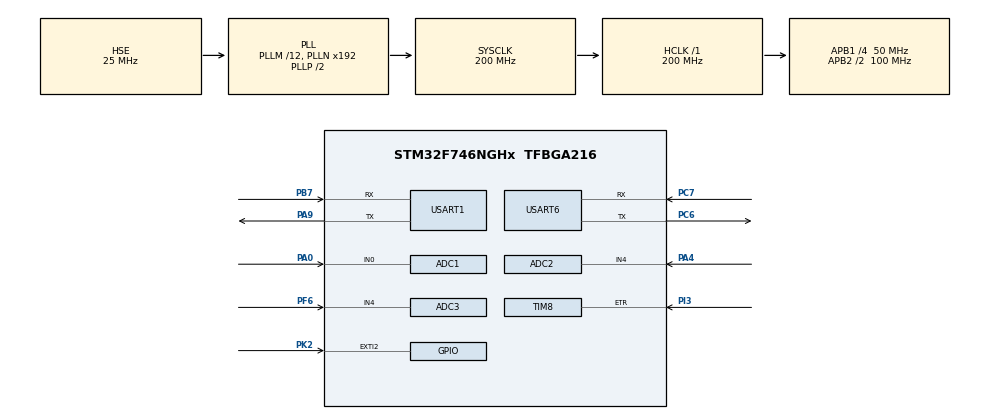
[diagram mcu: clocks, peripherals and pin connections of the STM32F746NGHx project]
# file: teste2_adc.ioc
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ADC1.Channel-0\#ChannelRegularConversion=ADC_CHANNEL_0
ADC1.ClockPrescaler=ADC_CLOCK_SYNC_PCLK_DIV6
ADC1.DMAAccessMode=ADC_DMAACCESSMODE_1
ADC1.DMAContinuousRequests=ENABLE
ADC1.ExternalTrigConv=ADC_EXTERNALTRIGCONV_T8_TRGO2
ADC1.Mode=ADC_TRIPLEMODE_REGSIMULT
ADC1.NbrOfConversionFlag=1
ADC1.Rank-0\#ChannelRegularConversion=1
ADC1.SamplingTime-0\#ChannelRegularConversion=ADC_SAMPLETIME_480CYCLES
ADC1.master=1
ADC2.Channel-0\#ChannelRegularConversion=ADC_CHANNEL_4
ADC2.ClockPrescaler=ADC_CLOCK_SYNC_PCLK_DIV6
ADC2.DMAAccessMode=ADC_DMAACCESSMODE_1
ADC2.Mode=ADC_TRIPLEMODE_REGSIMULT
ADC2.NbrOfConversionFlag=1
ADC2.Rank-0\#ChannelRegularConversion=1
ADC2.SamplingTime-0\#ChannelRegularConversion=ADC_SAMPLETIME_480CYCLES
ADC3.Channel-0\#ChannelRegularConversion=ADC_CHANNEL_4
ADC3.ClockPrescaler=ADC_CLOCK_SYNC_PCLK_DIV6
ADC3.DMAAccessMode=ADC_DMAACCESSMODE_1
ADC3.Mode=ADC_TRIPLEMODE_REGSIMULT
ADC3.NbrOfConversionFlag=1
ADC3.Rank-0\#ChannelRegularConversion=1
ADC3.SamplingTime-0\#ChannelRegularConversion=ADC_SAMPLETIME_480CYCLES
Dma.ADC1.0.Direction=DMA_PERIPH_TO_MEMORY
Dma.ADC1.0.FIFOMode=DMA_FIFOMODE_DISABLE
Dma.ADC1.0.Instance=DMA2_Stream4
Dma.ADC1.0.MemDataAlignment=DMA_MDATAALIGN_HALFWORD
Dma.ADC1.0.MemInc=DMA_MINC_ENABLE
Dma.ADC1.0.Mode=DMA_CIRCULAR
Dma.ADC1.0.PeriphDataAlignment=DMA_PDATAALIGN_HALFWORD
Dma.ADC1.0.PeriphInc=DMA_PINC_DISABLE
Dma.ADC1.0.Priority=DMA_PRIORITY_VERY_HIGH
Dma.Request0=ADC1
FREERTOS.Tasks01=PMU_Task,0,1024,PMUTask,Default,NULL,Dynamic,NULL,NULL
FREERTOS.configMINIMAL_STACK_SIZE=256
FREERTOS.configTOTAL_HEAP_SIZE=65536
Mcu.Family=STM32F7
Mcu.Name=STM32F746NGHx
Mcu.Package=TFBGA216
NVIC.DMA2_Stream4_IRQn=true\:5\:0\:false\:false\:true\:true\:false
NVIC.PriorityGroup=NVIC_PRIORITYGROUP_4
NVIC.USART1_IRQn=true\:5\:0\:false\:false\:true\:true\:true
NVIC.USART6_IRQn=true\:5\:0\:false\:false\:true\:true\:true
PA0/WKUP.Signal=ADCx_IN0
PA4.Signal=ADCx_IN4
PA9.Mode=Asynchronous
PA9.Signal=USART1_TX
PB7.Mode=Asynchronous
PB7.Signal=USART1_RX
PC6.Mode=Asynchronous
PC6.Signal=USART6_TX
PC7.Mode=Asynchronous
PC7.Signal=USART6_RX
PF6.Mode=IN4
PF6.Signal=ADC3_IN4
PH0/OSC_IN.Mode=HSE-External-Oscillator
PH0/OSC_IN.Signal=RCC_OSC_IN
PH1/OSC_OUT.Mode=HSE-External-Oscillator
PH1/OSC_OUT.Signal=RCC_OSC_OUT
PI3.Signal=S_TIM8_ETR
PK2.Signal=GPXTI2
ProjectManager.HeapSize=0x200
ProjectManager.StackSize=0x400
ProjectManager.TargetToolchain=SW4STM32
RCC.AHBFreq_Value=200000000
RCC.APB1CLKDivider=RCC_HCLK_DIV4
RCC.APB1Freq_Value=50000000
RCC.APB1TimFreq_Value=100000000
RCC.APB2CLKDivider=RCC_HCLK_DIV2
RCC.APB2Freq_Value=100000000
RCC.APB2TimFreq_Value=200000000
RCC.CortexFreq_Value=200000000
RCC.HCLKFreq_Value=200000000
RCC.HSE_VALUE=25000000
RCC.HSI_VALUE=16000000
RCC.LSE_VALUE=32768
RCC.PLLM=12
RCC.PLLSourceVirtual=RCC_PLLSOURCE_HSE
RCC.SYSCLKFreq_VALUE=200000000
RCC.SYSCLKSource=RCC_SYSCLKSOURCE_PLLCLK
RCC.USBFreq_Value=200000000
RCC.VCOOutputFreq_Value=400000000
SH.ADCx_IN0.0=ADC1_IN0,IN0
SH.ADCx_IN4.0=ADC2_IN4,IN4
SH.S_TIM8_ETR.0=TIM8_ETR,TriggerSource_ETR
TIM2.Period=1626
TIM2.Prescaler=1025
TIM2.TIM_MasterOutputTrigger=TIM_TRGO_UPDATE
TIM8.Period=6509
TIM8.TIM_MasterOutputTrigger2=TIM_TRGO2_UPDATE
USART1.VirtualMode-Asynchronous=VM_ASYNC
USART1.WordLength=WORDLENGTH_8B
USART6.VirtualMode-Asynchronous=VM_ASYNC
USART6.WordLength=WORDLENGTH_8B
VP_FREERTOS_VS_ENABLE.Mode=Enabled
VP_TIM2_VS_ClockSourceINT.Mode=Internal
VP_TIM8_VS_ClockSourceINT.Mode=Internal
VP_TIM8_VS_ControllerModeTrigger.Mode=Trigger Mode
board=teste2_adc

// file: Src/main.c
/**
  ******************************************************************************
  * @file           : main.c
  * @brief          : Main program body
  ******************************************************************************
  * This notice applies to any and all portions of this file
  * that are not between comment pairs USER CODE BEGIN and
  * USER CODE END. Other portions of this file, whether
  * inserted by the user or by software development tools
  * are owned by their respective copyright owners.
  *
  * Copyright (c) 2018 STMicroelectronics International N.V.
  * All rights reserved.
  *
  * Redistribution and use in source and binary forms, with or without
  * modification, are permitted, provided that the following conditions are met:
  *
  * 1. Redistribution of source code must retain the above copyright notice,
  *    this list of conditions and the following disclaimer.
  * 2. Redistributions in binary form must reproduce the above copyright notice,
  *    this list of conditions and the following disclaimer in the documentation
  *    and/or other materials provided with the distribution.
  * 3. Neither the name of STMicroelectronics nor the names of other
  *    contributors to this software may be used to endorse or promote products
  *    derived from this software without specific written permission.
  * 4. This software, including modifications and/or derivative works of this
  *    software, must execute solely and exclusively on microcontroller or
  *    microprocessor devices manufactured by or for STMicroelectronics.
  * 5. Redistribution and use of this software other than as permitted under
  *    this license is void and will automatically terminate your rights under
  *    this license.
  *
  * THIS SOFTWARE IS PROVIDED BY STMICROELECTRONICS AND CONTRIBUTORS "AS IS"
  * AND ANY EXPRESS, IMPLIED OR STATUTORY WARRANTIES, INCLUDING, BUT NOT
  * LIMITED TO, THE IMPLIED WARRANTIES OF MERCHANTABILITY, FITNESS FOR A
  * PARTICULAR PURPOSE AND NON-INFRINGEMENT OF THIRD PARTY INTELLECTUAL PROPERTY
  * RIGHTS ARE DISCLAIMED TO THE FULLEST EXTENT PERMITTED BY LAW. IN NO EVENT
  * SHALL STMICROELECTRONICS OR CONTRIBUTORS BE LIABLE FOR ANY DIRECT, INDIRECT,
  * INCIDENTAL, SPECIAL, EXEMPLARY, OR CONSEQUENTIAL DAMAGES (INCLUDING, BUT NOT
  * LIMITED TO, PROCUREMENT OF SUBSTITUTE GOODS OR SERVICES; LOSS OF USE, DATA,
  * OR PROFITS; OR BUSINESS INTERRUPTION) HOWEVER CAUSED AND ON ANY THEORY OF
  * LIABILITY, WHETHER IN CONTRACT, STRICT LIABILITY, OR TORT (INCLUDING
  * NEGLIGENCE OR OTHERWISE) ARISING IN ANY WAY OUT OF THE USE OF THIS SOFTWARE,
  * EVEN IF ADVISED OF THE POSSIBILITY OF SUCH DAMAGE.
  *
  ******************************************************************************
  */
#include "main.h"
#include "stm32f7xx_hal.h"
#include "cmsis_os.h"

/* USER CODE BEGIN Includes */
#include <math.h>
#include "stm32746g_discovery.h"

#include "xprintf.h"
#include <stdarg.h>

#define MCLOCK_FREQ 100000000
#define numero_pontos 256

volatile unsigned short adcBuffer[768];

///////////////////////////////////////////////////////////////////////
//////////////////////////////////////////////////////////////////////
////////////////////////////////////////////////////////////////////////
//				ESTIMAÇÃO DOS DADOS DE INTERESSE
//
// Fasores trifasicos, frequencia e rocof
unsigned n=0, t_inicial=2;
unsigned int send_serial=0;
unsigned int i=1;
int j=0;
volatile unsigned int n_amostras=256;

unsigned int k=0;
unsigned int flag=0;
unsigned int r,s,t, rr, ss, tt;

//Tabela da DFT
float teta, seno[numero_pontos], cosseno[numero_pontos];
//aplicacao do fator de calibracao
float FC;
float FasesAC[numero_pontos*3];
float FasesAC_mod_R[numero_pontos], FasesAC_mod_S[numero_pontos], FasesAC_mod_T[numero_pontos];
float FasesAC_ReIm_R[numero_pontos*2], FasesAC_ReIm_S[numero_pontos*2], FasesAC_ReIm_T[numero_pontos*2];
//Aplicacao da DFT
float modulor,modulos,modulot,faser,fases,faset,somaMr,somaMs,somaMt,somaFr,somaFs,somaFt;
//Fasor em coordenadas retangulares
float Mr,Ms,Mt,Fr,Fs,Ft;
//Fasor em coordenadas polares
float Mag_R,Mag_S,Mag_T,Fase_R,Fase_S,Fase_T;
//Frequencia e rocof
float f0=60; // Freq nominal
int fps=30; //Fasor por segundo - metade da freq. nominal neste trabalho
float desvio_faseR, desvio_faseS, desvio_faseT, freq_R, freq_S, freq_T, Freq, ROCOF;
float Fase_R_ant, Fase_S_ant, Fase_T_ant, Freq_ant;
float desvio_ang_esp;
float tolerancia = 10;
//media movel do desvio de angulo
float vetor_desvioR[10], vetor_desvioS[10], vetor_desvioT[10];
float soma_r, soma_s, soma_t;
unsigned int d=0;
//Correçao da taxa de amostragem
float  dif, vetor_freq[10], media_freq, soma_freq, media_freq_2;
float vetor_rocof[10], media_rocof, soma_rocof;
unsigned int  f=0, g=0, contador = 0;
//Transmissao via serial
float buffer[9];

//Definicoes para correcao das medidas
float mag, faseR_x_mag, faseS_x_mag, faseT_x_mag, faseR_x_freq, faseS_x_freq, faseT_x_freq;
float MagR_x_mag, MagS_x_mag, MagT_x_mag, MagR_x_freq;

//Fasores finais
float Mag_R_final,Mag_S_final,Mag_T_final,Fase_R_final,Fase_S_final,Fase_T_final;
float Freq_final;

// Referencia uma estrutura para o semáforo que sincroniza a transmissão pela porta serial
osSemaphoreId  pmuSem_id;

//Outros
float x, y, z, w, a=0;
unsigned int Freq_int;

//////////////////////////////////////////
//           PARA SER CONFIGURADO  !!!!!!!!
// Faction of Second
unsigned long FracSec = 0x00000000;  // 40 000 us
// Time base
unsigned long Time_base = 0x000F4240;   // 1 000 000 us

///////////////////////////////////////////

union {
	float pf;
	unsigned char byte[4];
}convert_float_to_char;
/* USER CODE END Includes */

ADC_HandleTypeDef hadc1;
ADC_HandleTypeDef hadc2;
ADC_HandleTypeDef hadc3;
DMA_HandleTypeDef hdma_adc1;

TIM_HandleTypeDef htim2;
TIM_HandleTypeDef htim8;

UART_HandleTypeDef huart1;
UART_HandleTypeDef huart6;

osThreadId PMU_TaskHandle;

/* USER CODE BEGIN PV */
/* Private variables ---------------------------------------------------------*/
int trigcount = 0;
/* USER CODE END PV */

void SystemClock_Config(void);
static void MX_GPIO_Init(void);
static void MX_DMA_Init(void);
static void MX_ADC1_Init(void);
static void MX_TIM8_Init(void);
static void MX_ADC2_Init(void);
static void MX_ADC3_Init(void);
static void MX_USART1_UART_Init(void);
static void MX_USART6_UART_Init(void);
static void MX_TIM2_Init(void);
void PMUTask(void const * argument);

/* USER CODE BEGIN PFP */
/* Private function prototypes -----------------------------------------------*/
void printSerial ( const char* aFormat, ... );
void putChar( unsigned char aCharacter );
/* USER CODE END PFP */

/* USER CODE BEGIN 0 */
//Callback chamado quando o ADC finaliza a conversão
void HAL_ADC_ConvCpltCallback(ADC_HandleTypeDef* hadc){
	char msg[280];

	//Interrompe o TIM8 e zera sua contagem atribuindo 0 ao Auto Reload Register
	htim8.Instance->CR1 &= ~(TIM_CR1_CEN);
	htim8.Instance->CNT = 0;

	// Se o TIM2 estiver desligado...
	if (htim2.Instance->CR1 == 0) {
		// Configura o TIM8 para ser trigado pelo TIM2 (ITR1)
		TIM_SlaveConfigTypeDef sSlaveConfig;
		sSlaveConfig.SlaveMode = TIM_SLAVEMODE_TRIGGER;
		sSlaveConfig.InputTrigger = TIM_TS_ITR1;
		HAL_TIM_SlaveConfigSynchronization(&htim8, &sSlaveConfig);

		// E inicia o TIM2
		htim2.Instance->CR1 |= (TIM_CR1_CEN);

		trigcount++;
	}
	// Do contrario, o TIM2 já está iniciado
	else {
		//Então conta-se um pulso
		trigcount++;

		if (trigcount > 29) {
			// Caso o número de pulsos-1 tenha sido atingido, o TIM2 é interrompido
			htim2.Instance->CR1 &= ~(TIM_CR1_CEN);
			htim2.Instance->CNT = 0;

			// O TIM8 é reestabelecido para ser disparado externamente
			TIM_SlaveConfigTypeDef sSlaveConfig;
			sSlaveConfig.SlaveMode = TIM_SLAVEMODE_TRIGGER;
			sSlaveConfig.InputTrigger = TIM_TS_ETRF;
			sSlaveConfig.TriggerPolarity = TIM_TRIGGERPOLARITY_NONINVERTED;
			sSlaveConfig.TriggerPrescaler = TIM_TRIGGERPRESCALER_DIV1;
			sSlaveConfig.TriggerFilter = 0;
			HAL_TIM_SlaveConfigSynchronization(&htim8, &sSlaveConfig);

			// E a contagem de pulsos zerada
			trigcount = 0;
		}
	}

	sprintf(msg, "Entrou no callback do ADC. Saindo com TrigCount = %d.\n", trigcount);
	printSerial(msg);

	BSP_LED_Toggle(LED1);
	osSemaphoreRelease(pmuSem_id);
}

void printSerial ( const char* aFormat, ... )
{
  char buff[ 256 ];
  va_list list;
  va_start( list, aFormat );
  vsprintf( buff, aFormat, list );
  va_end( list );
  xprintf( buff );
}

void putChar( unsigned char aCharacter )
{
  HAL_UART_Transmit( &huart1, (uint8_t*)&aCharacter, 1, 10 );
}
/* USER CODE END 0 */

int main(void)
{

  /* MCU Configuration----------------------------------------------------------*/

  /* Reset of all peripherals, Initializes the Flash interface and the Systick. */
  HAL_Init();

  /* Configure the system clock */
  SystemClock_Config();

  /* Initialize all configured peripherals */
  MX_GPIO_Init();
  MX_DMA_Init();
  MX_ADC1_Init();
  MX_TIM8_Init();
  MX_ADC2_Init();
  MX_ADC3_Init();
  MX_USART1_UART_Init();
  MX_USART6_UART_Init();
  MX_TIM2_Init();
  /* USER CODE BEGIN 2 */
  xdev_out( putChar );

  /*	TIM1:
   * 	100MHz(2050*1627) = 30.0003Hz
   * 	50MHz(1025*1627) = 30.0003Hz
   */
  /* USER CODE END 2 */

  /* Create the thread(s) */
  /* definition and creation of PMU_Task */
  osThreadDef(PMU_Task, PMUTask, osPriorityNormal, 0, 1024);
  PMU_TaskHandle = osThreadCreate(osThread(PMU_Task), NULL);

  /* Start scheduler */
  osKernelStart();

  /* We should never get here as control is now taken by the scheduler */

  /* Infinite loop */
  while (1)
  {

  }

}

void SystemClock_Config(void)
{

  RCC_OscInitTypeDef RCC_OscInitStruct;
  RCC_ClkInitTypeDef RCC_ClkInitStruct;
  RCC_PeriphCLKInitTypeDef PeriphClkInitStruct;

    /**Configure the main internal regulator output voltage
    */
  __HAL_RCC_PWR_CLK_ENABLE();

  __HAL_PWR_VOLTAGESCALING_CONFIG(PWR_REGULATOR_VOLTAGE_SCALE1);

    /**Initializes the CPU, AHB and APB busses clocks
    */
  RCC_OscInitStruct.OscillatorType = RCC_OSCILLATORTYPE_HSE;
  RCC_OscInitStruct.HSEState = RCC_HSE_ON;
  RCC_OscInitStruct.PLL.PLLState = RCC_PLL_ON;
  RCC_OscInitStruct.PLL.PLLSource = RCC_PLLSOURCE_HSE;
  RCC_OscInitStruct.PLL.PLLM = 12;
  RCC_OscInitStruct.PLL.PLLN = 192;
  RCC_OscInitStruct.PLL.PLLP = RCC_PLLP_DIV2;
  RCC_OscInitStruct.PLL.PLLQ = 2;
  if (HAL_RCC_OscConfig(&RCC_OscInitStruct) != HAL_OK)
  {
    _Error_Handler(__FILE__, __LINE__);
  }

    /**Activate the Over-Drive mode
    */
  if (HAL_PWREx_EnableOverDrive() != HAL_OK)
  {
    _Error_Handler(__FILE__, __LINE__);
  }

    /**Initializes the CPU, AHB and APB busses clocks
    */
  RCC_ClkInitStruct.ClockType = RCC_CLOCKTYPE_HCLK|RCC_CLOCKTYPE_SYSCLK
                              |RCC_CLOCKTYPE_PCLK1|RCC_CLOCKTYPE_PCLK2;
  RCC_ClkInitStruct.SYSCLKSource = RCC_SYSCLKSOURCE_PLLCLK;
  RCC_ClkInitStruct.AHBCLKDivider = RCC_SYSCLK_DIV1;
  RCC_ClkInitStruct.APB1CLKDivider = RCC_HCLK_DIV4;
  RCC_ClkInitStruct.APB2CLKDivider = RCC_HCLK_DIV2;

  if (HAL_RCC_ClockConfig(&RCC_ClkInitStruct, FLASH_LATENCY_6) != HAL_OK)
  {
    _Error_Handler(__FILE__, __LINE__);
  }

  PeriphClkInitStruct.PeriphClockSelection = RCC_PERIPHCLK_USART1|RCC_PERIPHCLK_USART6;
  PeriphClkInitStruct.Usart1ClockSelection = RCC_USART1CLKSOURCE_PCLK2;
  PeriphClkInitStruct.Usart6ClockSelection = RCC_USART6CLKSOURCE_PCLK2;
  if (HAL_RCCEx_PeriphCLKConfig(&PeriphClkInitStruct) != HAL_OK)
  {
    _Error_Handler(__FILE__, __LINE__);
  }

    /**Configure the Systick interrupt time
    */
  HAL_SYSTICK_Config(HAL_RCC_GetHCLKFreq()/1000);

    /**Configure the Systick
    */
  HAL_SYSTICK_CLKSourceConfig(SYSTICK_CLKSOURCE_HCLK);

  /* SysTick_IRQn interrupt configuration */
  HAL_NVIC_SetPriority(SysTick_IRQn, 15, 0);
}

/* ADC1 init function */
static void MX_ADC1_Init(void)
{

  ADC_MultiModeTypeDef multimode;
  ADC_ChannelConfTypeDef sConfig;

    /**Configure the global features of the ADC (Clock, Resolution, Data Alignment and number of conversion)
    */
  hadc1.Instance = ADC1;
  hadc1.Init.ClockPrescaler = ADC_CLOCK_SYNC_PCLK_DIV6;
  hadc1.Init.Resolution = ADC_RESOLUTION_12B;
  hadc1.Init.ScanConvMode = DISABLE;
  hadc1.Init.ContinuousConvMode = DISABLE;
  hadc1.Init.DiscontinuousConvMode = DISABLE;
  hadc1.Init.ExternalTrigConvEdge = ADC_EXTERNALTRIGCONVEDGE_RISING;
  hadc1.Init.ExternalTrigConv = ADC_EXTERNALTRIGCONV_T8_TRGO2;
  hadc1.Init.DataAlign = ADC_DATAALIGN_RIGHT;
  hadc1.Init.NbrOfConversion = 1;
  hadc1.Init.DMAContinuousRequests = ENABLE;
  hadc1.Init.EOCSelection = ADC_EOC_SINGLE_CONV;
  if (HAL_ADC_Init(&hadc1) != HAL_OK)
  {
    _Error_Handler(__FILE__, __LINE__);
  }

    /**Configure the ADC multi-mode
    */
  multimode.Mode = ADC_TRIPLEMODE_REGSIMULT;
  multimode.DMAAccessMode = ADC_DMAACCESSMODE_1;
  multimode.TwoSamplingDelay = ADC_TWOSAMPLINGDELAY_5CYCLES;
  if (HAL_ADCEx_MultiModeConfigChannel(&hadc1, &multimode) != HAL_OK)
  {
    _Error_Handler(__FILE__, __LINE__);
  }

    /**Configure for the selected ADC regular channel its corresponding rank in the sequencer and its sample time.
    */
  sConfig.Channel = ADC_CHANNEL_0;
  sConfig.Rank = ADC_REGULAR_RANK_1;
  sConfig.SamplingTime = ADC_SAMPLETIME_480CYCLES;
  if (HAL_ADC_ConfigChannel(&hadc1, &sConfig) != HAL_OK)
  {
    _Error_Handler(__FILE__, __LINE__);
  }

}

/* ADC2 init function */
static void MX_ADC2_Init(void)
{

  ADC_ChannelConfTypeDef sConfig;

    /**Configure the global features of the ADC (Clock, Resolution, Data Alignment and number of conversion)
    */
  hadc2.Instance = ADC2;
  hadc2.Init.ClockPrescaler = ADC_CLOCK_SYNC_PCLK_DIV6;
  hadc2.Init.Resolution = ADC_RESOLUTION_12B;
  hadc2.Init.ScanConvMode = DISABLE;
  hadc2.Init.ContinuousConvMode = DISABLE;
  hadc2.Init.DiscontinuousConvMode = DISABLE;
  hadc2.Init.DataAlign = ADC_DATAALIGN_RIGHT;
  hadc2.Init.NbrOfConversion = 1;
  hadc2.Init.DMAContinuousRequests = DISABLE;
  hadc2.Init.EOCSelection = ADC_EOC_SINGLE_CONV;
  if (HAL_ADC_Init(&hadc2) != HAL_OK)
  {
    _Error_Handler(__FILE__, __LINE__);
  }

    /**Configure for the selected ADC regular channel its corresponding rank in the sequencer and its sample time.
    */
  sConfig.Channel = ADC_CHANNEL_4;
  sConfig.Rank = ADC_REGULAR_RANK_1;
  sConfig.SamplingTime = ADC_SAMPLETIME_480CYCLES;
  if (HAL_ADC_ConfigChannel(&hadc2, &sConfig) != HAL_OK)
  {
    _Error_Handler(__FILE__, __LINE__);
  }

}

/* ADC3 init function */
static void MX_ADC3_Init(void)
{

  ADC_ChannelConfTypeDef sConfig;

    /**Configure the global features of the ADC (Clock, Resolution, Data Alignment and number of conversion)
    */
  hadc3.Instance = ADC3;
  hadc3.Init.ClockPrescaler = ADC_CLOCK_SYNC_PCLK_DIV6;
  hadc3.Init.Resolution = ADC_RESOLUTION_12B;
  hadc3.Init.ScanConvMode = DISABLE;
  hadc3.Init.ContinuousConvMode = DISABLE;
  hadc3.Init.DiscontinuousConvMode = DISABLE;
  hadc3.Init.DataAlign = ADC_DATAALIGN_RIGHT;
  hadc3.Init.NbrOfConversion = 1;
  hadc3.Init.DMAContinuousRequests = DISABLE;
  hadc3.Init.EOCSelection = ADC_EOC_SINGLE_CONV;
  if (HAL_ADC_Init(&hadc3) != HAL_OK)
  {
    _Error_Handler(__FILE__, __LINE__);
  }

    /**Configure for the selected ADC regular channel its corresponding rank in the sequencer and its sample time.
    */
  sConfig.Channel = ADC_CHANNEL_4;
  sConfig.Rank = ADC_REGULAR_RANK_1;
  sConfig.SamplingTime = ADC_SAMPLETIME_480CYCLES;
  if (HAL_ADC_ConfigChannel(&hadc3, &sConfig) != HAL_OK)
  {
    _Error_Handler(__FILE__, __LINE__);
  }

}

/* TIM2 init function */
static void MX_TIM2_Init(void)
{

  TIM_ClockConfigTypeDef sClockSourceConfig;
  TIM_MasterConfigTypeDef sMasterConfig;

  htim2.Instance = TIM2;
  htim2.Init.Prescaler = 1025;
  htim2.Init.CounterMode = TIM_COUNTERMODE_UP;
  htim2.Init.Period = 1626;
  htim2.Init.ClockDivision = TIM_CLOCKDIVISION_DIV1;
  htim2.Init.AutoReloadPreload = TIM_AUTORELOAD_PRELOAD_DISABLE;
  if (HAL_TIM_Base_Init(&htim2) != HAL_OK)
  {
    _Error_Handler(__FILE__, __LINE__);
  }

  sClockSourceConfig.ClockSource = TIM_CLOCKSOURCE_INTERNAL;
  if (HAL_TIM_ConfigClockSource(&htim2, &sClockSourceConfig) != HAL_OK)
  {
    _Error_Handler(__FILE__, __LINE__);
  }

  sMasterConfig.MasterOutputTrigger = TIM_TRGO_UPDATE;
  sMasterConfig.MasterSlaveMode = TIM_MASTERSLAVEMODE_DISABLE;
  if (HAL_TIMEx_MasterConfigSynchronization(&htim2, &sMasterConfig) != HAL_OK)
  {
    _Error_Handler(__FILE__, __LINE__);
  }

}

/* TIM8 init function */
static void MX_TIM8_Init(void)
{

  TIM_ClockConfigTypeDef sClockSourceConfig;
  TIM_SlaveConfigTypeDef sSlaveConfig;
  TIM_MasterConfigTypeDef sMasterConfig;

  htim8.Instance = TIM8;
  htim8.Init.Prescaler = 0;
  htim8.Init.CounterMode = TIM_COUNTERMODE_UP;
  htim8.Init.Period = 6509;
  htim8.Init.ClockDivision = TIM_CLOCKDIVISION_DIV1;
  htim8.Init.RepetitionCounter = 0;
  htim8.Init.AutoReloadPreload = TIM_AUTORELOAD_PRELOAD_DISABLE;
  if (HAL_TIM_Base_Init(&htim8) != HAL_OK)
  {
    _Error_Handler(__FILE__, __LINE__);
  }

  sClockSourceConfig.ClockSource = TIM_CLOCKSOURCE_INTERNAL;
  if (HAL_TIM_ConfigClockSource(&htim8, &sClockSourceConfig) != HAL_OK)
  {
    _Error_Handler(__FILE__, __LINE__);
  }

  sSlaveConfig.SlaveMode = TIM_SLAVEMODE_TRIGGER;
  sSlaveConfig.InputTrigger = TIM_TS_ETRF;
  sSlaveConfig.TriggerPolarity = TIM_TRIGGERPOLARITY_NONINVERTED;
  sSlaveConfig.TriggerPrescaler = TIM_TRIGGERPRESCALER_DIV1;
  sSlaveConfig.TriggerFilter = 0;
  if (HAL_TIM_SlaveConfigSynchronization(&htim8, &sSlaveConfig) != HAL_OK)
  {
    _Error_Handler(__FILE__, __LINE__);
  }

  sMasterConfig.MasterOutputTrigger = TIM_TRGO_RESET;
  sMasterConfig.MasterOutputTrigger2 = TIM_TRGO2_UPDATE;
  sMasterConfig.MasterSlaveMode = TIM_MASTERSLAVEMODE_DISABLE;
  if (HAL_TIMEx_MasterConfigSynchronization(&htim8, &sMasterConfig) != HAL_OK)
  {
    _Error_Handler(__FILE__, __LINE__);
  }

}

/* USART1 init function */
static void MX_USART1_UART_Init(void)
{

  huart1.Instance = USART1;
  huart1.Init.BaudRate = 115200;
  huart1.Init.WordLength = UART_WORDLENGTH_8B;
  huart1.Init.StopBits = UART_STOPBITS_1;
  huart1.Init.Parity = UART_PARITY_NONE;
  huart1.Init.Mode = UART_MODE_TX_RX;
  huart1.Init.HwFlowCtl = UART_HWCONTROL_NONE;
  huart1.Init.OverSampling = UART_OVERSAMPLING_16;
  huart1.Init.OneBitSampling = UART_ONE_BIT_SAMPLE_DISABLE;
  huart1.AdvancedInit.AdvFeatureInit = UART_ADVFEATURE_NO_INIT;
  if (HAL_UART_Init(&huart1) != HAL_OK)
  {
    _Error_Handler(__FILE__, __LINE__);
  }

}

/* USART6 init function */
static void MX_USART6_UART_Init(void)
{

  huart6.Instance = USART6;
  huart6.Init.BaudRate = 115200;
  huart6.Init.WordLength = UART_WORDLENGTH_8B;
  huart6.Init.StopBits = UART_STOPBITS_1;
  huart6.Init.Parity = UART_PARITY_NONE;
  huart6.Init.Mode = UART_MODE_TX_RX;
  huart6.Init.HwFlowCtl = UART_HWCONTROL_NONE;
  huart6.Init.OverSampling = UART_OVERSAMPLING_16;
  huart6.Init.OneBitSampling = UART_ONE_BIT_SAMPLE_DISABLE;
  huart6.AdvancedInit.AdvFeatureInit = UART_ADVFEATURE_NO_INIT;
  if (HAL_UART_Init(&huart6) != HAL_OK)
  {
    _Error_Handler(__FILE__, __LINE__);
  }

}

static void MX_DMA_Init(void)
{
  /* DMA controller clock enable */
  __HAL_RCC_DMA2_CLK_ENABLE();

  /* DMA interrupt init */
  /* DMA2_Stream4_IRQn interrupt configuration */
  HAL_NVIC_SetPriority(DMA2_Stream4_IRQn, 5, 0);
  HAL_NVIC_EnableIRQ(DMA2_Stream4_IRQn);

}

/** Configure pins as
        * Analog
        * Input
        * Output
        * EVENT_OUT
        * EXTI
*/
static void MX_GPIO_Init(void)
{

  GPIO_InitTypeDef GPIO_InitStruct;

  /* GPIO Ports Clock Enable */
  __HAL_RCC_GPIOB_CLK_ENABLE();
  __HAL_RCC_GPIOI_CLK_ENABLE();
  __HAL_RCC_GPIOA_CLK_ENABLE();
  __HAL_RCC_GPIOK_CLK_ENABLE();
  __HAL_RCC_GPIOH_CLK_ENABLE();
  __HAL_RCC_GPIOC_CLK_ENABLE();
  __HAL_RCC_GPIOF_CLK_ENABLE();

  /*Configure GPIO pin : PK2 */
  GPIO_InitStruct.Pin = GPIO_PIN_2;
  GPIO_InitStruct.Mode = GPIO_MODE_IT_RISING;
  GPIO_InitStruct.Pull = GPIO_NOPULL;
  HAL_GPIO_Init(GPIOK, &GPIO_InitStruct);

}

/* PMUTask function */
void PMUTask(void const * argument)
{

  /* USER CODE BEGIN 5 */
	// Tabela da DFT
	teta=2*M_PI/n_amostras;

	for(k=0;k<n_amostras;k++){
		seno[k]=sin(k*teta);
		cosseno[k]=cos(k*teta);
	}

	//Carrega valores iniciais
	desvio_ang_esp = 0;  //desvio de ângulo esperado
	tolerancia = 6.5;    //tolerancia do desvio esperado
	Freq_ant = f0;

	//Calcula a fração de segundo (para etiqueta de tempo)
	if(f0 == 60){
		FracSec = 0x00008235;  //Fração de segundo 0,03333
	}else if(f0 == 50){
		FracSec = 0x00009C40;  // Fração de segundo = 0,04
	}

	// carrega vetores de media móvel
	for(i=0;i<10;i++){
		vetor_freq[i]=f0;
		vetor_rocof[i]=0;
	}

  osSemaphoreDef(SEM2);
  pmuSem_id = osSemaphoreCreate(osSemaphore(SEM2), 1);
  osSemaphoreWait(pmuSem_id, osWaitForever);

  BSP_LED_Init(LED1);
  MX_ADC1_Init();
  MX_ADC2_Init();
  MX_ADC3_Init();

  HAL_ADC_Start(&hadc3);
  HAL_ADC_Start(&hadc2);
  HAL_ADCEx_MultiModeStart_DMA(&hadc1, (uint32_t*)adcBuffer, 768);

  /* Infinite loop */
  for(;;)
  {
		// Espera completar as 768 amostras
	  	osSemaphoreWait(pmuSem_id, osWaitForever);

		// Aplica o fator de calibracao e carrega novo vetor (liberando o buffer)
		for(j=0;j<(n_amostras*3);j++){
		    FasesAC[j]=adcBuffer[j]*(float)0.0008056640625;//FC;//(3.0/4096);
		}

		send_serial = 0;

		r=0;
		s=1;
		t=2;

		somaMr=0;
		somaMs=0;
		somaMt=0;

		somaFr=0;
		somaFs=0;
		somaFt=0;

		//Aplicacao da DFT
		int k2 = 0;
		for (k=0;k<n_amostras;k++){

			modulor = FasesAC[r]*cosseno[k];
			modulos = FasesAC[s]*cosseno[k];
			modulot = FasesAC[t]*cosseno[k];

			//##############################
			// Para FFT
			FasesAC_ReIm_R[k2]=FasesAC[r];
			FasesAC_ReIm_S[k2]=FasesAC[s];
			FasesAC_ReIm_T[k2]=FasesAC[t];
			FasesAC_ReIm_R[k2+1]=0;
			FasesAC_ReIm_S[k2+1]=0;
			FasesAC_ReIm_T[k2+1]=0;

			k2 += 2;
			//##############################

			faser = FasesAC[r]*seno[k];
			fases = FasesAC[s]*seno[k];
			faset = FasesAC[t]*seno[k];

			somaMr += modulor;
			somaMs += modulos;
			somaMt += modulot;

			somaFr += faser;
			somaFs += fases;
			somaFt += faset;

			r +=3;
			s +=3;
			t +=3;
		}

		//Fasor em coordenadas retangulares
		Mr=somaMr*2/n_amostras;
		Ms=somaMs*2/n_amostras;
		Mt=somaMt*2/n_amostras;

		Fr=somaFr*2/n_amostras;
		Fs=somaFs*2/n_amostras;
		Ft=somaFt*2/n_amostras;

		//Fasor em coordenadas polares
		Mag_R = (sqrt((Mr*Mr)+(Fr*Fr)))/sqrt(2);
		Mag_S = (sqrt((Ms*Ms)+(Fs*Fs)))/sqrt(2);
		Mag_T = (sqrt((Mt*Mt)+(Ft*Ft)))/sqrt(2);

		Fase_R = (atan2(-Fr,Mr)*180/M_PI);
		Fase_S = (atan2(-Fs,Ms)*180/M_PI);
		Fase_T = (atan2(-Ft,Mt)*180/M_PI);

		//Desvio de fase (para estimacao de frequencia)
		desvio_faseR = (Fase_R-Fase_R_ant);
		desvio_faseS = (Fase_S-Fase_S_ant);
		desvio_faseT = (Fase_T-Fase_T_ant);

		Fase_R_ant = Fase_R;
		Fase_S_ant = Fase_S;
		Fase_T_ant = Fase_T;

		// Correcao da regiao de 180 graus para o desvio de fase
		if(desvio_faseR>270){
			desvio_faseR = desvio_faseR-360;
		}
		if(desvio_faseR<-270){
			desvio_faseR = desvio_faseR+360;
		}
		if(desvio_faseS>270){
			desvio_faseS = desvio_faseS-360;
		}
		if(desvio_faseS<-270){
			desvio_faseS = desvio_faseS+360;
		}
		if(desvio_faseT>270){
			desvio_faseT = desvio_faseT-360;
		}
		if(desvio_faseT<-270){
			desvio_faseT = desvio_faseT+360;
		}

		//FREQUENCIA E ROCOF FINAL (sem correcoes)
		//Calculo da freq para 30 pulsos e 3 fases

		freq_R = f0 + (desvio_faseR*fps)/360.0;
		freq_S = f0 + (desvio_faseS*fps)/360.0;
		freq_T = f0 + (desvio_faseT*fps)/360.0;

		Freq = (freq_R+freq_S+freq_T)/3.0;
		Freq = 60;

		if(f0 == 50){
			if(Freq > 55){
				Freq = 55;
			}else if(Freq < 45){
				Freq = 45;
			}
		}else if(f0 == 60){
			if(Freq > 65){
				Freq = 65;
			}else if(Freq < 55){
				Freq = 55;
			}
		}

		media_freq_2 = (Freq + Freq_ant)/2.0;

		//Desvio de ângulo esperado (para correção do phase shift)
		desvio_ang_esp = 360*(Freq-f0)/fps;

		ROCOF = (Freq - Freq_ant)*fps;

		Freq_ant = Freq;

		//media movel no valor final do rocof
		n=3;
		vetor_rocof[g] = ROCOF;
		g++;
		for(i=0;i<n;i++){
		    soma_rocof = soma_rocof + vetor_rocof[i];
		    media_rocof = soma_rocof/n;
		}
		soma_rocof = 0;
		if(g==n){
		    g=0;
		}

		// Media movel no valor final da frequencia
		vetor_freq[f] = Freq;
		f++;
		for(i=0;i<2;i++){
		    soma_freq = soma_freq + vetor_freq[i];
		    media_freq = soma_freq/2.0;
		}
		soma_freq = 0;
		if(f==2){
		    f=0;
		}

		Freq_final = media_freq; //+media_rocof/fps;

		// !!!!!!!!!!!!!!!!!!!!!!!!!!!!!!!!!!!!!!!!!!! TESTES SEM SINAL
		media_freq = f0;  /////////////////// !!!!!!!!!!!!!!!!!!!!!!!!!!!!!!!!!!!!!!!
		//!!!!!!!!!!!!!!!!!!!!!!!!!!!!!!!!!!!!!!!!!!!!!!!

		//AJUSTE DA TAXA DE AMOSTRAGEM

		htim8.Instance->ARR = (float)MCLOCK_FREQ/((media_freq)*n_amostras);

		//APLICAÇÃO DAS CORREÇÕES (em magnitude e fase)

		//MAGNITUDE- ajuste da magnitude
		// Y-data = Magnitude reference - X-data = Magnitude measured (não em p.u.)

		mag = Mag_R;
		MagR_x_mag = (float)-0.0018945693 + (float)4.1062603119*mag;
		MagR_x_mag += (float)-0.0077128570*mag*mag;
		MagR_x_mag += (float)0.0262579711*mag*mag*mag;
		MagR_x_mag += (float)-0.0142115525*mag*mag*mag*mag;

		mag = Mag_S;
		MagS_x_mag = (float)-0.0018945693+(float)4.1062603119*mag;
		MagS_x_mag += (float)-0.0077128570*mag*mag;
		MagS_x_mag += (float)0.0262579711*mag*mag*mag;
		MagS_x_mag += (float)-0.0142115525*mag*mag*mag*mag;

		mag = Mag_T;
		MagT_x_mag = (float)-0.0018945693+(float)4.1062603119*mag;
		MagT_x_mag += (float)-0.0077128570*mag*mag;
		MagT_x_mag += (float)0.0262579711*mag*mag*mag;
		MagT_x_mag += (float)-0.0142115525*mag*mag*mag*mag;

		//FASE
		//correcao de fase em funcao da magnitude
		// Y-data = Phase deviation - X-data = Magnitude measured (não em p.u.)

		mag = MagR_x_mag;
		faseR_x_mag = (float)-1.2595979549+(float)0.4039280602*mag;
		faseR_x_mag += (float)-0.1010751752*mag*mag;
		faseR_x_mag += (float)0.0096132710*mag*mag*mag;

		mag = MagS_x_mag;
		faseS_x_mag = (float)-1.2595979549+(float)0.4039280602*mag;
		faseS_x_mag += (float)-0.1010751752*mag*mag;
		faseS_x_mag += (float)0.0096132710*mag*mag*mag;

		mag = MagT_x_mag;
		faseT_x_mag = (float)-1.2595979549+(float)0.4039280602*mag;
		faseT_x_mag += (float)-0.1010751752*mag*mag;
		faseT_x_mag += (float)0.0096132710*mag*mag*mag;

		// FREQUENCIA
		//correcao de fase em funcao da frequencia
		mag = media_freq;
		faseR_x_freq = (float)0.0237760101*mag-(float)1.1727874302;
		faseS_x_freq = (float)0.0237760101*mag-(float)1.1727874302;
		faseT_x_freq = (float)0.0237760101*mag-(float)1.1727874302;

		MagR_x_freq = mag*((float)-3.6463158287E-5)+(float)0.0011139213;
		MagR_x_freq = mag*((float)-3.6463158287E-5)+(float)0.0011139213;
		MagR_x_freq = mag*((float)-3.6463158287E-5)+(float)0.0011139213;

		// Calcula magnitude final
		// Ajustes da magnitude:
		// Sensor PRETO:
		Mag_R_final = MagR_x_mag * 64.727;
		Mag_S_final = MagS_x_mag * 65.105;
		Mag_T_final = MagT_x_mag * 64.596;

		//Calcula fase final (aplica as correcoes anteriores)
		Fase_R_final = Fase_R+faseR_x_mag+faseR_x_freq;
		Fase_S_final = Fase_S+faseS_x_mag+faseS_x_freq;
		Fase_T_final = Fase_T+faseT_x_mag+faseT_x_freq;

		// Correcao da regiao de 180 graus para a fase final
		if(Fase_R_final > 180.0){
			Fase_R_final = (Fase_R_final-360);
		}
		if(Fase_R_final <= -180.0){
			Fase_R_final = (Fase_R_final+360);
		}
		if(Fase_S_final>180.0){
			Fase_S_final = (Fase_S_final-360);
		}
		if(Fase_S_final<= -180.0){
			Fase_S_final = (Fase_S_final+360);
		}
		if(Fase_T_final>180.0){
			Fase_T_final = (Fase_T_final-360);
		}
		if(Fase_T_final<= -180.0){
			Fase_T_final = (Fase_T_final+360);
		}

		BSP_LED_Toggle(LED1);
		printSerial("Terminou estimação da PMU.\n");
  }
  /* USER CODE END 5 */
}

void _Error_Handler(char *file, int line)
{
  while(1)
  {
  }
}

/************************ (C) COPYRIGHT STMicroelectronics *****END OF FILE****/
